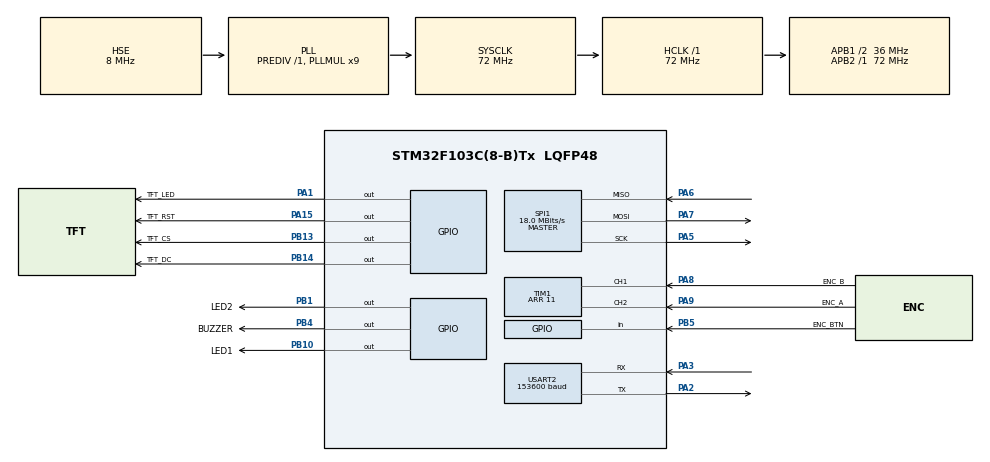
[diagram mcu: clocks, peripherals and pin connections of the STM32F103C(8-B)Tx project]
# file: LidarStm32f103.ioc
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Dma.Request0=SPI1_TX
Dma.Request1=USART2_RX
Dma.SPI1_TX.0.Direction=DMA_MEMORY_TO_PERIPH
Dma.SPI1_TX.0.Instance=DMA1_Channel3
Dma.SPI1_TX.0.MemDataAlignment=DMA_MDATAALIGN_BYTE
Dma.SPI1_TX.0.MemInc=DMA_MINC_ENABLE
Dma.SPI1_TX.0.Mode=DMA_NORMAL
Dma.SPI1_TX.0.PeriphDataAlignment=DMA_PDATAALIGN_BYTE
Dma.SPI1_TX.0.PeriphInc=DMA_PINC_DISABLE
Dma.SPI1_TX.0.Priority=DMA_PRIORITY_LOW
Dma.USART2_RX.1.Direction=DMA_PERIPH_TO_MEMORY
Dma.USART2_RX.1.Instance=DMA1_Channel6
Dma.USART2_RX.1.MemDataAlignment=DMA_MDATAALIGN_BYTE
Dma.USART2_RX.1.MemInc=DMA_MINC_ENABLE
Dma.USART2_RX.1.Mode=DMA_NORMAL
Dma.USART2_RX.1.PeriphDataAlignment=DMA_PDATAALIGN_BYTE
Dma.USART2_RX.1.PeriphInc=DMA_PINC_DISABLE
Dma.USART2_RX.1.Priority=DMA_PRIORITY_MEDIUM
FREERTOS.Tasks01=readLidar,16,128,StartDefaultTask,Default,NULL,Static,readLidarBuffer,readLidarControlBlock;showLidar,8,128,StartTask02,Default,NULL,Static,showLidarBuffer,showLidarControlBlock
FREERTOS.configUSE_NEWLIB_REENTRANT=1
Mcu.Family=STM32F1
Mcu.Name=STM32F103C(8-B)Tx
Mcu.Package=LQFP48
NVIC.DMA1_Channel3_IRQn=true\:5\:0\:false\:false\:true\:true\:false\:true
NVIC.DMA1_Channel6_IRQn=true\:5\:0\:false\:false\:true\:true\:false\:true
NVIC.PriorityGroup=NVIC_PRIORITYGROUP_4
NVIC.TIM2_IRQn=true\:15\:0\:false\:false\:true\:false\:false\:true
NVIC.TimeBase=TIM2_IRQn
NVIC.TimeBaseIP=TIM2
NVIC.USART2_IRQn=true\:5\:0\:false\:false\:true\:true\:true\:true
PA1.GPIO_Label=TFT_LED
PA1.Signal=GPIO_Output
PA13.Mode=Serial_Wire
PA13.Signal=SYS_JTMS-SWDIO
PA14.Mode=Serial_Wire
PA14.Signal=SYS_JTCK-SWCLK
PA15.GPIO_Label=TFT_RST
PA15.PinState=GPIO_PIN_SET
PA15.Signal=GPIO_Output
PA2.Mode=Asynchronous
PA2.Signal=USART2_TX
PA3.Mode=Asynchronous
PA3.Signal=USART2_RX
PA5.Mode=Full_Duplex_Master
PA5.Signal=SPI1_SCK
PA6.Mode=Full_Duplex_Master
PA6.Signal=SPI1_MISO
PA7.Mode=Full_Duplex_Master
PA7.Signal=SPI1_MOSI
PA8.GPIO_Label=ENC_B
PA8.Signal=S_TIM1_CH1
PA9.GPIO_Label=ENC_A
PA9.Signal=S_TIM1_CH2
PB1.GPIO_Label=LED2
PB1.Signal=GPIO_Output
PB10.GPIO_Label=LED1
PB10.Signal=GPIO_Output
PB13.GPIO_Label=TFT_CS
PB13.GPIO_Speed=GPIO_SPEED_FREQ_HIGH
PB13.PinState=GPIO_PIN_SET
PB13.Signal=GPIO_Output
PB14.GPIO_Label=TFT_DC
PB14.GPIO_Speed=GPIO_SPEED_FREQ_HIGH
PB14.PinState=GPIO_PIN_SET
PB14.Signal=GPIO_Output
PB4.GPIO_Label=BUZZER
PB4.Signal=GPIO_Output
PB5.GPIO_Label=ENC_BTN
PB5.Signal=GPIO_Input
PD0-OSC_IN.Mode=HSE-External-Oscillator
PD0-OSC_IN.Signal=RCC_OSC_IN
PD1-OSC_OUT.Mode=HSE-External-Oscillator
PD1-OSC_OUT.Signal=RCC_OSC_OUT
ProjectManager.HeapSize=0x200
ProjectManager.StackSize=0x400
ProjectManager.TargetToolchain=STM32CubeIDE
RCC.AHBFreq_Value=72000000
RCC.APB1CLKDivider=RCC_HCLK_DIV2
RCC.APB1Freq_Value=36000000
RCC.APB1TimFreq_Value=72000000
RCC.APB2Freq_Value=72000000
RCC.APB2TimFreq_Value=72000000
RCC.HCLKFreq_Value=72000000
RCC.PLLMUL=RCC_PLL_MUL9
RCC.PLLSourceVirtual=RCC_PLLSOURCE_HSE
RCC.SYSCLKFreq_VALUE=72000000
RCC.SYSCLKSource=RCC_SYSCLKSOURCE_PLLCLK
RCC.USBFreq_Value=72000000
SH.S_TIM1_CH1.0=TIM1_CH1,Encoder_Interface
SH.S_TIM1_CH2.0=TIM1_CH2,Encoder_Interface
SPI1.BaudRatePrescaler=SPI_BAUDRATEPRESCALER_4
SPI1.CalculateBaudRate=18.0 MBits/s
SPI1.DataSize=SPI_DATASIZE_8BIT
SPI1.Direction=SPI_DIRECTION_2LINES
SPI1.Mode=SPI_MODE_MASTER
SPI1.VirtualType=VM_MASTER
TIM1.IC1Filter=15
TIM1.IC2Filter=15
TIM1.Period=11
USART2.BaudRate=153600
USART2.Mode=MODE_RX
USART2.VirtualMode=VM_ASYNC
USART2.WordLength=WORDLENGTH_8B
VP_FREERTOS_VS_CMSIS_V2.Mode=CMSIS_V2
VP_SYS_VS_tim2.Mode=TIM2
board=custom

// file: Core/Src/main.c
/* USER CODE BEGIN Header */
/**
  ******************************************************************************
  * @file           : main.c
  * @brief          : Main program body
  ******************************************************************************
  * @attention
  *
  * <h2><center>&copy; Copyright (c) 2021 STMicroelectronics.
  * All rights reserved.</center></h2>
  *
  * This software component is licensed by ST under BSD 3-Clause license,
  * the "License"; You may not use this file except in compliance with the
  * License. You may obtain a copy of the License at:
  *                        opensource.org/licenses/BSD-3-Clause
  *
  ******************************************************************************
  */
/* USER CODE END Header */
#include "main.h"
#include "cmsis_os.h"

typedef StaticTask_t osStaticThreadDef_t;

SPI_HandleTypeDef hspi1;
DMA_HandleTypeDef hdma_spi1_tx;

TIM_HandleTypeDef htim1;

UART_HandleTypeDef huart2;
DMA_HandleTypeDef hdma_usart2_rx;

/* Definitions for readLidar */
osThreadId_t readLidarHandle;
uint32_t readLidarBuffer[ 128 ];
osStaticThreadDef_t readLidarControlBlock;
const osThreadAttr_t readLidar_attributes = {
  .name = "readLidar",
  .cb_mem = &readLidarControlBlock,
  .cb_size = sizeof(readLidarControlBlock),
  .stack_mem = &readLidarBuffer[0],
  .stack_size = sizeof(readLidarBuffer),
  .priority = (osPriority_t) osPriorityBelowNormal,
};
/* Definitions for showLidar */
osThreadId_t showLidarHandle;
uint32_t showLidarBuffer[ 128 ];
osStaticThreadDef_t showLidarControlBlock;
const osThreadAttr_t showLidar_attributes = {
  .name = "showLidar",
  .cb_mem = &showLidarControlBlock,
  .cb_size = sizeof(showLidarControlBlock),
  .stack_mem = &showLidarBuffer[0],
  .stack_size = sizeof(showLidarBuffer),
  .priority = (osPriority_t) osPriorityLow,
};
/* USER CODE BEGIN PV */
dataPoint data[360+1];     // массив данных лидара
uint8_t scale=0;           // текущий масштаб графика от 0 до 5
uint8_t fScale=0;          // Необходимость перерисовать шкалу (изменение масштаба)
/* USER CODE END PV */

void SystemClock_Config(void);
static void MX_GPIO_Init(void);
static void MX_DMA_Init(void);
static void MX_USART2_UART_Init(void);
static void MX_SPI1_Init(void);
static void MX_TIM1_Init(void);
void StartDefaultTask(void *argument);
void StartTask02(void *argument);

/* USER CODE BEGIN 0 */
// Пищалка
void beep(uint16_t t)
{
	HAL_GPIO_TogglePin(GPIOB, BUZZER_Pin); // Звук переключения
	HAL_Delay(t);
	HAL_GPIO_TogglePin(GPIOB, BUZZER_Pin);
}
#ifdef UART_DMA
	uint8_t RxBuf0[RxBuf_SIZE];  // два буфера работают попеременно, пока один пишется другой разбирается
	uint8_t RxBuf1[RxBuf_SIZE];
	uint8_t *RxBuf;              // Указатель на текущий буфер для чтения

	void HAL_UARTEx_RxEventCallback(UART_HandleTypeDef *huart, uint16_t Size)
	{
	int32_t diff;
	int16_t angle_per_sample;
	uint32_t index;          // Угол в градусах, он же индекс массива данных
	typeHeader  *header;     // указатель на заголовок пакета
	uint8_t *Buf;            // Указатель  на буфер для разбора
	onePoint *point;         // Указатель на одно измерение приходящее с лидара
	int i,j;
		if (huart->Instance == USART2)
		{
		Buf=RxBuf;   // получить ссылку где лежат последние данные для последующей обработки
		if (RxBuf==RxBuf0) RxBuf=RxBuf1; else RxBuf=RxBuf0; // переключиться на другой буфер для чтения
			/* start the DMA again */
			HAL_UARTEx_ReceiveToIdle_DMA(&huart2, (uint8_t *) RxBuf, RxBuf_SIZE);  // Чтение до idle это важно!
			__HAL_DMA_DISABLE_IT(&hdma_usart2_rx, DMA_IT_HT);
			HAL_GPIO_TogglePin(LED1_GPIO_Port, LED1_Pin);                          // Инвертирование состояния светодиода 1 - чтение нового пакета

    // Разбор полученных данных они лежат в Buf
	for(i=0;i<Size;i++)  // По всему принятому буферу
		{
		if((Buf[i+0]==0xAA)&&(Buf[i+1]==0x55)){    // найден заголовок
		header=(typeHeader*)&Buf[i+2];             // наложить структуру заголовка на принятые данные
//		if(header->pack_type!=0x38) break;         // не правильный пакет
		diff = header->stop_angle - header->start_angle;                           // Диапазон углов
		if (header->stop_angle<header->start_angle) diff=0xB400-header->start_angle+header->stop_angle; // если перешли через 0  (0xB400 скорее всего максимальный угол)
		angle_per_sample = 0;                                                    // угол одного образца
		if (diff > 1) angle_per_sample = diff / (header->data_lenght-1);          // вычисление изменения угла на одно измерение в посылке

		// Чтение измерений
    	//	   if(header->data_lenght>40) break;
		   if ((10+header->data_lenght*3)>Size) {  // Инвертирование состояния светодиода 2 - есть ошибка
			   HAL_GPIO_TogglePin(LED2_GPIO_Port, LED2_Pin);     // Ошибка
			   break;
		   }
		   for (j=0;j<header->data_lenght;j++){                                    // По всем измерениям пакета
			   index = (header->start_angle + angle_per_sample * j)*360/0xB400;    // расчет угла в градусах
			   if (index>359) index=index-359;                                     // переход через 0
			   if (index>359) index=359;
			   point=(onePoint*)&Buf[i+10+j*3];                                     // наложить структуру одного измерения на буфер с данными
			   data[index].distance=point->distance;
			   data[index].quality=point->quality;
		       } // for
    		} // if((RxBuf[i+0]==0xAA)&&(RxBuf[i+1]==0x55))
		break;
		} // for

		} // if (huart->Instance == USART2)
	}
#endif

/* USER CODE END 0 */

int main(void)
{

  /* MCU Configuration--------------------------------------------------------*/

  /* Reset of all peripherals, Initializes the Flash interface and the Systick. */
  HAL_Init();

  /* Configure the system clock */
  SystemClock_Config();

  /* Initialize all configured peripherals */
  MX_GPIO_Init();
  MX_DMA_Init();
  MX_USART2_UART_Init();
  MX_SPI1_Init();
  MX_TIM1_Init();
  /* USER CODE BEGIN 2 */
   HAL_GPIO_WritePin(LED1_GPIO_Port, LED1_Pin, GPIO_PIN_SET);      // Установить светодиод 1 в 1
   HAL_GPIO_WritePin(LED2_GPIO_Port, LED2_Pin, GPIO_PIN_RESET);    // Установить светодиод 2 в 0
   beep(200);
   showStartScreen();

   HAL_TIM_Encoder_Start(&htim1, TIM_CHANNEL_ALL); // Включить энкодер

   #ifdef UART_DMA
   RxBuf=RxBuf0; // Установить текущий буфер
   HAL_UARTEx_ReceiveToIdle_DMA(&huart2, RxBuf, RxBuf_SIZE);  // Запустить чтение с uart лидара
    __HAL_DMA_DISABLE_IT(&hdma_usart2_rx, DMA_IT_HT);         //
   #endif
  /* USER CODE END 2 */

  /* Init scheduler */
  osKernelInitialize();

  /* Create the thread(s) */
  /* creation of readLidar */
  readLidarHandle = osThreadNew(StartDefaultTask, NULL, &readLidar_attributes);

  /* creation of showLidar */
  showLidarHandle = osThreadNew(StartTask02, NULL, &showLidar_attributes);

  /* Start scheduler */
  osKernelStart();

  /* We should never get here as control is now taken by the scheduler */
  /* Infinite loop */

    /* USER CODE BEGIN 3 */
// }
  /* USER CODE END 3 */
}

void SystemClock_Config(void)
{
  RCC_OscInitTypeDef RCC_OscInitStruct = {0};
  RCC_ClkInitTypeDef RCC_ClkInitStruct = {0};

  /** Initializes the RCC Oscillators according to the specified parameters
  * in the RCC_OscInitTypeDef structure.
  */
  RCC_OscInitStruct.OscillatorType = RCC_OSCILLATORTYPE_HSE;
  RCC_OscInitStruct.HSEState = RCC_HSE_ON;
  RCC_OscInitStruct.HSEPredivValue = RCC_HSE_PREDIV_DIV1;
  RCC_OscInitStruct.HSIState = RCC_HSI_ON;
  RCC_OscInitStruct.PLL.PLLState = RCC_PLL_ON;
  RCC_OscInitStruct.PLL.PLLSource = RCC_PLLSOURCE_HSE;
  RCC_OscInitStruct.PLL.PLLMUL = RCC_PLL_MUL9;
  if (HAL_RCC_OscConfig(&RCC_OscInitStruct) != HAL_OK)
  {
    Error_Handler();
  }
  /** Initializes the CPU, AHB and APB buses clocks
  */
  RCC_ClkInitStruct.ClockType = RCC_CLOCKTYPE_HCLK|RCC_CLOCKTYPE_SYSCLK
                              |RCC_CLOCKTYPE_PCLK1|RCC_CLOCKTYPE_PCLK2;
  RCC_ClkInitStruct.SYSCLKSource = RCC_SYSCLKSOURCE_PLLCLK;
  RCC_ClkInitStruct.AHBCLKDivider = RCC_SYSCLK_DIV1;
  RCC_ClkInitStruct.APB1CLKDivider = RCC_HCLK_DIV2;
  RCC_ClkInitStruct.APB2CLKDivider = RCC_HCLK_DIV1;

  if (HAL_RCC_ClockConfig(&RCC_ClkInitStruct, FLASH_LATENCY_2) != HAL_OK)
  {
    Error_Handler();
  }
}

static void MX_SPI1_Init(void)
{

  /* SPI1 parameter configuration*/
  hspi1.Instance = SPI1;
  hspi1.Init.Mode = SPI_MODE_MASTER;
  hspi1.Init.Direction = SPI_DIRECTION_2LINES;
  hspi1.Init.DataSize = SPI_DATASIZE_8BIT;
  hspi1.Init.CLKPolarity = SPI_POLARITY_LOW;
  hspi1.Init.CLKPhase = SPI_PHASE_1EDGE;
  hspi1.Init.NSS = SPI_NSS_SOFT;
  hspi1.Init.BaudRatePrescaler = SPI_BAUDRATEPRESCALER_4;
  hspi1.Init.FirstBit = SPI_FIRSTBIT_MSB;
  hspi1.Init.TIMode = SPI_TIMODE_DISABLE;
  hspi1.Init.CRCCalculation = SPI_CRCCALCULATION_DISABLE;
  hspi1.Init.CRCPolynomial = 10;
  if (HAL_SPI_Init(&hspi1) != HAL_OK)
  {
    Error_Handler();
  }

}

static void MX_TIM1_Init(void)
{

  TIM_Encoder_InitTypeDef sConfig = {0};
  TIM_MasterConfigTypeDef sMasterConfig = {0};

  htim1.Instance = TIM1;
  htim1.Init.Prescaler = 0;
  htim1.Init.CounterMode = TIM_COUNTERMODE_UP;
  htim1.Init.Period = 11;
  htim1.Init.ClockDivision = TIM_CLOCKDIVISION_DIV1;
  htim1.Init.RepetitionCounter = 0;
  htim1.Init.AutoReloadPreload = TIM_AUTORELOAD_PRELOAD_DISABLE;
  sConfig.EncoderMode = TIM_ENCODERMODE_TI1;
  sConfig.IC1Polarity = TIM_ICPOLARITY_RISING;
  sConfig.IC1Selection = TIM_ICSELECTION_DIRECTTI;
  sConfig.IC1Prescaler = TIM_ICPSC_DIV1;
  sConfig.IC1Filter = 15;
  sConfig.IC2Polarity = TIM_ICPOLARITY_RISING;
  sConfig.IC2Selection = TIM_ICSELECTION_DIRECTTI;
  sConfig.IC2Prescaler = TIM_ICPSC_DIV1;
  sConfig.IC2Filter = 15;
  if (HAL_TIM_Encoder_Init(&htim1, &sConfig) != HAL_OK)
  {
    Error_Handler();
  }
  sMasterConfig.MasterOutputTrigger = TIM_TRGO_RESET;
  sMasterConfig.MasterSlaveMode = TIM_MASTERSLAVEMODE_DISABLE;
  if (HAL_TIMEx_MasterConfigSynchronization(&htim1, &sMasterConfig) != HAL_OK)
  {
    Error_Handler();
  }

}

static void MX_USART2_UART_Init(void)
{

  huart2.Instance = USART2;
  huart2.Init.BaudRate = 153600;
  huart2.Init.WordLength = UART_WORDLENGTH_8B;
  huart2.Init.StopBits = UART_STOPBITS_1;
  huart2.Init.Parity = UART_PARITY_NONE;
  huart2.Init.Mode = UART_MODE_RX;
  huart2.Init.HwFlowCtl = UART_HWCONTROL_NONE;
  huart2.Init.OverSampling = UART_OVERSAMPLING_16;
  if (HAL_UART_Init(&huart2) != HAL_OK)
  {
    Error_Handler();
  }

}

static void MX_DMA_Init(void)
{

  /* DMA controller clock enable */
  __HAL_RCC_DMA1_CLK_ENABLE();

  /* DMA interrupt init */
  /* DMA1_Channel3_IRQn interrupt configuration */
  HAL_NVIC_SetPriority(DMA1_Channel3_IRQn, 5, 0);
  HAL_NVIC_EnableIRQ(DMA1_Channel3_IRQn);
  /* DMA1_Channel6_IRQn interrupt configuration */
  HAL_NVIC_SetPriority(DMA1_Channel6_IRQn, 5, 0);
  HAL_NVIC_EnableIRQ(DMA1_Channel6_IRQn);

}

static void MX_GPIO_Init(void)
{
  GPIO_InitTypeDef GPIO_InitStruct = {0};

  /* GPIO Ports Clock Enable */
  __HAL_RCC_GPIOD_CLK_ENABLE();
  __HAL_RCC_GPIOA_CLK_ENABLE();
  __HAL_RCC_GPIOB_CLK_ENABLE();

  /*Configure GPIO pin Output Level */
  HAL_GPIO_WritePin(TFT_LED_GPIO_Port, TFT_LED_Pin, GPIO_PIN_RESET);

  /*Configure GPIO pin Output Level */
  HAL_GPIO_WritePin(GPIOB, LED2_Pin|LED1_Pin|BUZZER_Pin, GPIO_PIN_RESET);

  /*Configure GPIO pin Output Level */
  HAL_GPIO_WritePin(GPIOB, TFT_CS_Pin|TFT_DC_Pin, GPIO_PIN_SET);

  /*Configure GPIO pin Output Level */
  HAL_GPIO_WritePin(TFT_RST_GPIO_Port, TFT_RST_Pin, GPIO_PIN_SET);

  /*Configure GPIO pins : TFT_LED_Pin TFT_RST_Pin */
  GPIO_InitStruct.Pin = TFT_LED_Pin|TFT_RST_Pin;
  GPIO_InitStruct.Mode = GPIO_MODE_OUTPUT_PP;
  GPIO_InitStruct.Pull = GPIO_NOPULL;
  GPIO_InitStruct.Speed = GPIO_SPEED_FREQ_LOW;
  HAL_GPIO_Init(GPIOA, &GPIO_InitStruct);

  /*Configure GPIO pins : LED2_Pin LED1_Pin BUZZER_Pin */
  GPIO_InitStruct.Pin = LED2_Pin|LED1_Pin|BUZZER_Pin;
  GPIO_InitStruct.Mode = GPIO_MODE_OUTPUT_PP;
  GPIO_InitStruct.Pull = GPIO_NOPULL;
  GPIO_InitStruct.Speed = GPIO_SPEED_FREQ_LOW;
  HAL_GPIO_Init(GPIOB, &GPIO_InitStruct);

  /*Configure GPIO pins : TFT_CS_Pin TFT_DC_Pin */
  GPIO_InitStruct.Pin = TFT_CS_Pin|TFT_DC_Pin;
  GPIO_InitStruct.Mode = GPIO_MODE_OUTPUT_PP;
  GPIO_InitStruct.Pull = GPIO_NOPULL;
  GPIO_InitStruct.Speed = GPIO_SPEED_FREQ_HIGH;
  HAL_GPIO_Init(GPIOB, &GPIO_InitStruct);

  /*Configure GPIO pin : ENC_BTN_Pin */
  GPIO_InitStruct.Pin = ENC_BTN_Pin;
  GPIO_InitStruct.Mode = GPIO_MODE_INPUT;
  GPIO_InitStruct.Pull = GPIO_NOPULL;
  HAL_GPIO_Init(ENC_BTN_GPIO_Port, &GPIO_InitStruct);

}

void StartDefaultTask(void *argument)
{
  /* USER CODE BEGIN 5 */
 #ifdef UART_DMA
	 uint8_t pressKey=0;      // Отпускание клавиши
 #endif
  /* Infinite loop */
  for(;;)
  {
  #ifndef UART_DMA // Чтение пакета и чтение кнопки
   readOnePoket();
   osDelay(1);
  #else  // DMA - пакеты читаются по событию idle только чтение кнопки
   osDelay(100);
   uint16_t new_scale = __HAL_TIM_GET_COUNTER(&htim1)/2;  // Прочитать значение энкодера
   if (scale!=new_scale){
	   scale=new_scale;
	   fScale=1; // Надо перерисовать шкалу
	   osDelay(50);
   }
  #endif
  }
  /* USER CODE END 5 */
}

void StartTask02(void *argument)
{
  /* USER CODE BEGIN StartTask02 */
  /* Infinite loop */
  for(;;)
  {
	  showRadar();
 //   osDelay(1);
  }
  /* USER CODE END StartTask02 */
}

void HAL_TIM_PeriodElapsedCallback(TIM_HandleTypeDef *htim)
{
  if (htim->Instance == TIM2) {
    HAL_IncTick();
  }
}

void Error_Handler(void)
{
  __disable_irq();
  while (1)
  {
  }
}

/************************ (C) COPYRIGHT STMicroelectronics *****END OF FILE****/
